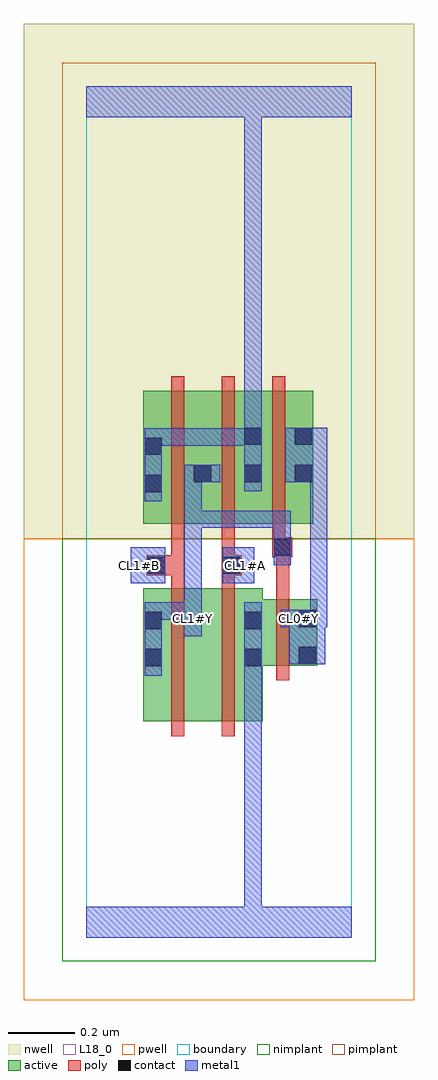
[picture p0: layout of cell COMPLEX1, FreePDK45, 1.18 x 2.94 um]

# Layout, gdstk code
import gdstk
lib = gdstk.Library(unit=1e-6, precision=1e-09)
def R(c, l, rs):  # rectangles x0, y0, x1, y1
    for r in rs: c.add(gdstk.rectangle(r[:2], r[2:], *l))
def A(c, l, x, y, w, h, nx, ny, dx, dy):  # array of equal rectangles
    R(c, l, [(x+i*dx, y+j*dy, x+i*dx+w, y+j*dy+h) for i in range(nx) for j in range(ny)])
active = (1, 0)
pwell = (2, 0)
nwell = (3, 0)
nimplant = (4, 0)
pimplant = (5, 0)
poly = (9, 0)
contact = (10, 0)
metal1 = (11, 0)
L18_0 = (18, 0)
boundary = (235, 0)

complex1 = lib.new_cell('COMPLEX1')
A(complex1, active, 0.32, 1.244, 0.06, 0.4, 3, 1, 0.152, 0)
R(complex1, active, [(0.172,0.65,0.352,1.05), (0.352,0.65,0.532,1.05), (0.472,0.65,0.532,1.018), (0.172,0.756,0.232,1.05), (0.472,0.818,0.696,1.018), (0.636,0.818,0.696,1.018), (0.172,1.244,0.232,1.644), (0.172,1.244,0.38,1.644), (0.32,1.244,0.532,1.644), (0.472,1.244,0.684,1.644)])
R(complex1, pwell, [(-0.188,-0.188,0.988,1.2)])
R(complex1, nwell, [(-0.188,1.2,0.988,2.748)])
R(complex1, nimplant, [(-0.072,-0.072,0.872,1.2)])
R(complex1, pimplant, [(-0.072,1.2,0.872,2.632)])
A(complex1, poly, 0.256, 1.2, 0.04, 0.488, 3, 1, 0.152, 0)
R(complex1, poly, [(0.256,0.606,0.296,1.094), (0.408,0.606,0.448,1.094), (0.572,0.774,0.612,1.062), (0.572,1.022,0.612,1.184), (0.256,1.054,0.296,1.13), (0.408,1.054,0.448,1.13), (0.182,1.09,0.296,1.15), (0.256,1.09,0.296,1.13), (0.256,1.09,0.296,1.13), (0.408,1.09,0.468,1.15), (0.256,1.11,0.296,1.24), (0.408,1.11,0.448,1.15), (0.408,1.11,0.448,1.15), (0.408,1.11,0.448,1.24), (0.56,1.144,0.62,1.204), (0.572,1.144,0.612,1.184), (0.572,1.144,0.612,1.184), (0.56,1.164,0.6,1.24)])
A(complex1, contact, 0.324, 1.37, 0.052, 0.052, 3, 1, 0.152, 0)
R(complex1, contact, [(0.176,0.816,0.228,0.868), (0.476,0.816,0.528,0.868), (0.64,0.822,0.692,0.874), (0.176,0.928,0.228,0.98), (0.476,0.928,0.528,0.98), (0.64,0.934,0.692,0.986), (0.186,1.094,0.238,1.146), (0.412,1.094,0.464,1.146), (0.564,1.148,0.616,1.2), (0.176,1.34,0.228,1.392), (0.176,1.452,0.228,1.504), (0.476,1.482,0.528,1.534), (0.628,1.482,0.68,1.534)])
R(complex1, metal1, [(0,0,0.8,0.092), (0.476,0.04,0.528,0.092), (0.476,0.04,0.528,0.092), (0.476,0.04,0.528,0.092), (0.476,0.04,0.528,0.092), (0.476,0.04,0.528,0.092), (0.476,0.04,0.528,0.092), (0.476,0.04,0.528,0.092), (0.476,0.04,0.528,0.092), (0.476,0.04,0.528,0.092), (0.476,0.04,0.528,0.092), (0.476,0.04,0.528,0.84), (0.176,0.788,0.228,1.008), (0.476,0.788,0.528,0.84), (0.476,0.788,0.528,0.84), (0.476,0.788,0.528,1.008), (0.612,0.822,0.72,0.986), (0.294,0.906,0.348,1.014), (0.586,0.934,0.726,0.986), (0.612,0.934,0.664,0.986), (0.674,0.934,0.726,1.422), (0.176,0.956,0.228,1.008), (0.176,0.956,0.228,1.008), (0.176,0.956,0.228,1.008), (0.176,0.956,0.228,1.008), (0.176,0.956,0.346,1.008), (0.296,0.962,0.348,1.284), (0.134,1.066,0.238,1.174), (0.412,1.066,0.506,1.174), (0.564,1.12,0.616,1.284), (0.296,1.232,0.348,1.284), (0.296,1.232,0.458,1.284), (0.296,1.232,0.348,1.422), (0.406,1.232,0.458,1.284), (0.406,1.232,0.458,1.284), (0.406,1.232,0.458,1.284), (0.406,1.232,0.616,1.284), (0.176,1.312,0.228,1.532), (0.476,1.342,0.528,1.562), (0.296,1.37,0.404,1.422), (0.6,1.37,0.726,1.534), (0.674,1.37,0.726,1.422), (0.674,1.37,0.726,1.422), (0.176,1.48,0.228,1.532), (0.176,1.48,0.228,1.532), (0.176,1.48,0.348,1.532), (0.296,1.48,0.348,1.532), (0.296,1.48,0.348,1.532), (0.296,1.48,0.348,1.532), (0.296,1.48,0.528,1.532), (0.476,1.51,0.528,2.52), (0,2.468,0.8,2.56), (0.476,2.468,0.528,2.52), (0.476,2.468,0.528,2.52), (0.476,2.468,0.528,2.52), (0.476,2.468,0.528,2.52), (0.476,2.468,0.528,2.52), (0.476,2.468,0.528,2.52), (0.476,2.468,0.528,2.52), (0.476,2.468,0.528,2.52), (0.476,2.468,0.528,2.52), (0.476,2.468,0.528,2.52), (0.476,2.468,0.528,2.52), (0.476,2.468,0.528,2.52), (0.476,2.468,0.528,2.52), (0.476,2.468,0.528,2.52), (0.476,2.468,0.528,2.52), (0.476,2.468,0.528,2.52)])
R(complex1, L18_0, [(0,0,0.8,0.092), (0.476,0.04,0.528,0.092), (0.476,0.04,0.528,0.092), (0.476,0.04,0.528,0.092), (0.476,0.04,0.528,0.092), (0.476,0.04,0.528,0.092), (0.476,0.04,0.528,0.092), (0.476,0.04,0.528,0.092), (0.476,0.04,0.528,0.092), (0.476,0.04,0.528,0.092), (0.476,0.04,0.528,0.092), (0.476,0.04,0.528,0.84), (0.176,0.788,0.228,1.008), (0.476,0.788,0.528,1.008), (0.476,0.788,0.528,0.84), (0.476,0.788,0.528,0.84), (0.612,0.822,0.72,0.986), (0.294,0.906,0.348,1.014), (0.294,0.934,0.346,0.986), (0.586,0.934,0.726,0.986), (0.612,0.934,0.664,0.986), (0.614,0.934,0.666,0.986), (0.674,0.934,0.726,1.422), (0.176,0.956,0.228,1.008), (0.176,0.956,0.228,1.008), (0.176,0.956,0.228,1.008), (0.176,0.956,0.228,1.008), (0.176,0.956,0.346,1.008), (0.296,0.962,0.348,1.284), (0.134,1.066,0.238,1.174), (0.412,1.066,0.506,1.174), (0.134,1.094,0.186,1.146), (0.454,1.094,0.506,1.146), (0.564,1.12,0.616,1.284), (0.296,1.232,0.348,1.284), (0.296,1.232,0.348,1.422), (0.296,1.232,0.458,1.284), (0.406,1.232,0.458,1.284), (0.406,1.232,0.458,1.284), (0.406,1.232,0.458,1.284), (0.406,1.232,0.616,1.284), (0.176,1.312,0.228,1.532), (0.476,1.342,0.528,1.562), (0.296,1.37,0.404,1.422), (0.6,1.37,0.726,1.534), (0.674,1.37,0.726,1.422), (0.674,1.37,0.726,1.422), (0.176,1.48,0.228,1.532), (0.176,1.48,0.228,1.532), (0.176,1.48,0.348,1.532), (0.296,1.48,0.348,1.532), (0.296,1.48,0.348,1.532), (0.296,1.48,0.348,1.532), (0.296,1.48,0.528,1.532), (0.476,1.51,0.528,2.52), (0,2.468,0.8,2.56), (0.476,2.468,0.528,2.52), (0.476,2.468,0.528,2.52), (0.476,2.468,0.528,2.52), (0.476,2.468,0.528,2.52), (0.476,2.468,0.528,2.52), (0.476,2.468,0.528,2.52), (0.476,2.468,0.528,2.52), (0.476,2.468,0.528,2.52), (0.476,2.468,0.528,2.52), (0.476,2.468,0.528,2.52), (0.476,2.468,0.528,2.52), (0.476,2.468,0.528,2.52), (0.476,2.468,0.528,2.52), (0.476,2.468,0.528,2.52), (0.476,2.468,0.528,2.52), (0.476,2.468,0.528,2.52)])
R(complex1, boundary, [(0,0,0.8,2.56)])
complex1.add(gdstk.Label('CL0#Y', (0.64,0.96), layer=11, texttype=0))
complex1.add(gdstk.Label('CL1#A', (0.48,1.12), layer=11, texttype=0))
complex1.add(gdstk.Label('CL1#B', (0.16,1.12), layer=11, texttype=0))
complex1.add(gdstk.Label('CL1#Y', (0.32,0.96), layer=11, texttype=0))

lib.write_gds('COMPLEX1.gds')
